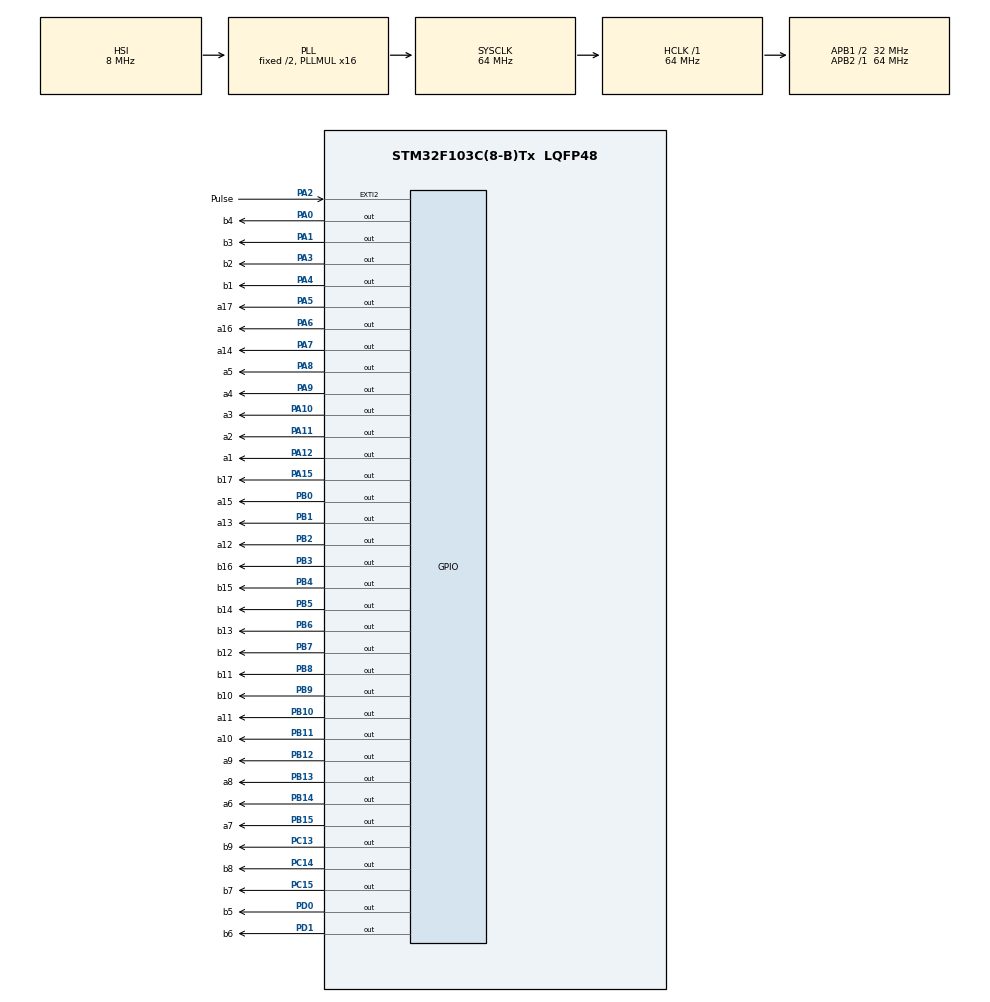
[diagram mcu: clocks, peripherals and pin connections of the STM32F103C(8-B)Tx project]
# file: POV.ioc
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Mcu.Family=STM32F1
Mcu.Name=STM32F103C(8-B)Tx
Mcu.Package=LQFP48
NVIC.EXTI2_IRQn=true\:1\:0\:true
NVIC.PriorityGroup=NVIC_PRIORITYGROUP_4
NVIC.TIM3_IRQn=true\:2\:0\:true
PA0-WKUP.GPIO_Label=b4
PA0-WKUP.GPIO_ModeDefaultOutputPP=GPIO_MODE_OUTPUT_PP
PA0-WKUP.GPIO_Speed=GPIO_SPEED_HIGH
PA0-WKUP.Signal=GPIO_Output
PA1.GPIO_Label=b3
PA1.GPIO_ModeDefaultOutputPP=GPIO_MODE_OUTPUT_PP
PA1.GPIO_Speed=GPIO_SPEED_HIGH
PA1.Signal=GPIO_Output
PA10.GPIO_Label=a3
PA10.GPIO_ModeDefaultOutputPP=GPIO_MODE_OUTPUT_PP
PA10.GPIO_Speed=GPIO_SPEED_HIGH
PA10.Signal=GPIO_Output
PA11.GPIO_Label=a2
PA11.GPIO_ModeDefaultOutputPP=GPIO_MODE_OUTPUT_PP
PA11.GPIO_Speed=GPIO_SPEED_HIGH
PA11.Signal=GPIO_Output
PA12.GPIO_Label=a1
PA12.GPIO_ModeDefaultOutputPP=GPIO_MODE_OUTPUT_PP
PA12.GPIO_Speed=GPIO_SPEED_HIGH
PA12.Signal=GPIO_Output
PA13.Mode=Serial_Wire
PA13.Signal=SYS_JTMS-SWDIO
PA14.Mode=Serial_Wire
PA14.Signal=SYS_JTCK-SWCLK
PA15.GPIO_Label=b17
PA15.GPIO_ModeDefaultOutputPP=GPIO_MODE_OUTPUT_PP
PA15.GPIO_Speed=GPIO_SPEED_HIGH
PA15.Signal=GPIO_Output
PA2.GPIO_Label=Pulse
PA2.GPIO_ModeDefaultEXTI=GPIO_MODE_IT_FALLING
PA2.GPIO_PuPd=GPIO_PULLUP
PA2.Signal=GPXTI2
PA3.GPIO_Label=b2
PA3.GPIO_ModeDefaultOutputPP=GPIO_MODE_OUTPUT_PP
PA3.GPIO_Speed=GPIO_SPEED_HIGH
PA3.Signal=GPIO_Output
PA4.GPIO_Label=b1
PA4.GPIO_ModeDefaultOutputPP=GPIO_MODE_OUTPUT_PP
PA4.GPIO_Speed=GPIO_SPEED_HIGH
PA4.Signal=GPIO_Output
PA5.GPIO_Label=a17
PA5.GPIO_ModeDefaultOutputPP=GPIO_MODE_OUTPUT_PP
PA5.GPIO_Speed=GPIO_SPEED_HIGH
PA5.Signal=GPIO_Output
PA6.GPIO_Label=a16
PA6.GPIO_ModeDefaultOutputPP=GPIO_MODE_OUTPUT_PP
PA6.GPIO_Speed=GPIO_SPEED_HIGH
PA6.Signal=GPIO_Output
PA7.GPIO_Label=a14
PA7.GPIO_ModeDefaultOutputPP=GPIO_MODE_OUTPUT_PP
PA7.GPIO_Speed=GPIO_SPEED_HIGH
PA7.Signal=GPIO_Output
PA8.GPIO_Label=a5
PA8.GPIO_ModeDefaultOutputPP=GPIO_MODE_OUTPUT_PP
PA8.GPIO_Speed=GPIO_SPEED_HIGH
PA8.Signal=GPIO_Output
PA9.GPIO_Label=a4
PA9.GPIO_ModeDefaultOutputPP=GPIO_MODE_OUTPUT_PP
PA9.GPIO_Speed=GPIO_SPEED_HIGH
PA9.Signal=GPIO_Output
PB0.GPIO_Label=a15
PB0.GPIO_ModeDefaultOutputPP=GPIO_MODE_OUTPUT_PP
PB0.GPIO_Speed=GPIO_SPEED_HIGH
PB0.Signal=GPIO_Output
PB1.GPIO_Label=a13
PB1.GPIO_ModeDefaultOutputPP=GPIO_MODE_OUTPUT_PP
PB1.GPIO_Speed=GPIO_SPEED_HIGH
PB1.Signal=GPIO_Output
PB10.GPIO_Label=a11
PB10.GPIO_ModeDefaultOutputPP=GPIO_MODE_OUTPUT_PP
PB10.GPIO_Speed=GPIO_SPEED_HIGH
PB10.Signal=GPIO_Output
PB11.GPIO_Label=a10
PB11.GPIO_ModeDefaultOutputPP=GPIO_MODE_OUTPUT_PP
PB11.GPIO_Speed=GPIO_SPEED_HIGH
PB11.Signal=GPIO_Output
PB12.GPIO_Label=a9
PB12.GPIO_ModeDefaultOutputPP=GPIO_MODE_OUTPUT_PP
PB12.GPIO_Speed=GPIO_SPEED_HIGH
PB12.Signal=GPIO_Output
PB13.GPIO_Label=a8
PB13.GPIO_ModeDefaultOutputPP=GPIO_MODE_OUTPUT_PP
PB13.GPIO_Speed=GPIO_SPEED_HIGH
PB13.Signal=GPIO_Output
PB14.GPIO_Label=a6
PB14.GPIO_ModeDefaultOutputPP=GPIO_MODE_OUTPUT_PP
PB14.GPIO_Speed=GPIO_SPEED_HIGH
PB14.Signal=GPIO_Output
PB15.GPIO_Label=a7
PB15.GPIO_ModeDefaultOutputPP=GPIO_MODE_OUTPUT_PP
PB15.GPIO_Speed=GPIO_SPEED_HIGH
PB15.Signal=GPIO_Output
PB2.GPIO_Label=a12
PB2.GPIO_ModeDefaultOutputPP=GPIO_MODE_OUTPUT_PP
PB2.GPIO_Speed=GPIO_SPEED_HIGH
PB2.Signal=GPIO_Output
PB3.GPIO_Label=b16
PB3.GPIO_ModeDefaultOutputPP=GPIO_MODE_OUTPUT_PP
PB3.GPIO_Speed=GPIO_SPEED_HIGH
PB3.Signal=GPIO_Output
PB4.GPIO_Label=b15
PB4.GPIO_ModeDefaultOutputPP=GPIO_MODE_OUTPUT_PP
PB4.GPIO_Speed=GPIO_SPEED_HIGH
PB4.Signal=GPIO_Output
PB5.GPIO_Label=b14
PB5.GPIO_ModeDefaultOutputPP=GPIO_MODE_OUTPUT_PP
PB5.GPIO_Speed=GPIO_SPEED_HIGH
PB5.Signal=GPIO_Output
PB6.GPIO_Label=b13
PB6.GPIO_ModeDefaultOutputPP=GPIO_MODE_OUTPUT_PP
PB6.GPIO_Speed=GPIO_SPEED_HIGH
PB6.Signal=GPIO_Output
PB7.GPIO_Label=b12
PB7.GPIO_ModeDefaultOutputPP=GPIO_MODE_OUTPUT_PP
PB7.GPIO_Speed=GPIO_SPEED_HIGH
PB7.Signal=GPIO_Output
PB8.GPIO_Label=b11
PB8.GPIO_ModeDefaultOutputPP=GPIO_MODE_OUTPUT_PP
PB8.GPIO_Speed=GPIO_SPEED_HIGH
PB8.Signal=GPIO_Output
PB9.GPIO_Label=b10
PB9.GPIO_ModeDefaultOutputPP=GPIO_MODE_OUTPUT_PP
PB9.GPIO_Speed=GPIO_SPEED_HIGH
PB9.Signal=GPIO_Output
PC13-TAMPER-RTC.GPIO_Label=b9
PC13-TAMPER-RTC.GPIO_ModeDefaultOutputPP=GPIO_MODE_OUTPUT_PP
PC13-TAMPER-RTC.GPIO_Speed=GPIO_SPEED_HIGH
PC13-TAMPER-RTC.Signal=GPIO_Output
PC14-OSC32_IN.GPIO_Label=b8
PC14-OSC32_IN.GPIO_ModeDefaultOutputPP=GPIO_MODE_OUTPUT_PP
PC14-OSC32_IN.GPIO_Speed=GPIO_SPEED_HIGH
PC14-OSC32_IN.Signal=GPIO_Output
PC15-OSC32_OUT.GPIO_Label=b7
PC15-OSC32_OUT.GPIO_ModeDefaultOutputPP=GPIO_MODE_OUTPUT_PP
PC15-OSC32_OUT.GPIO_Speed=GPIO_SPEED_HIGH
PC15-OSC32_OUT.Signal=GPIO_Output
PD0-OSC_IN.GPIO_Label=b5
PD0-OSC_IN.GPIO_ModeDefaultOutputPP=GPIO_MODE_OUTPUT_PP
PD0-OSC_IN.GPIO_Speed=GPIO_SPEED_HIGH
PD0-OSC_IN.Signal=GPIO_Output
PD1-OSC_OUT.GPIO_Label=b6
PD1-OSC_OUT.GPIO_ModeDefaultOutputPP=GPIO_MODE_OUTPUT_PP
PD1-OSC_OUT.GPIO_Speed=GPIO_SPEED_HIGH
PD1-OSC_OUT.Signal=GPIO_Output
ProjectManager.HeapSize=0x400
ProjectManager.StackSize=0x200
ProjectManager.TargetToolchain=MDK-ARM V5
RCC.AHBFreq_Value=64000000
RCC.APB1CLKDivider=RCC_HCLK_DIV2
RCC.APB1Freq_Value=32000000
RCC.APB1TimFreq_Value=64000000
RCC.APB2Freq_Value=64000000
RCC.APB2TimFreq_Value=64000000
RCC.HCLKFreq_Value=64000000
RCC.PLLMUL=RCC_PLL_MUL16
RCC.SYSCLKFreq_VALUE=64000000
RCC.SYSCLKSource=RCC_SYSCLKSOURCE_PLLCLK
RCC.USBFreq_Value=64000000
TIM4.Prescaler=99
VP_TIM3_VS_ClockSourceINT.Mode=Internal
VP_TIM4_VS_ClockSourceINT.Mode=Internal
board=POV

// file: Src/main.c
/**
  ******************************************************************************
  * File Name          : main.c
  * Description        : Main program body
  ******************************************************************************
  *
  * COPYRIGHT(c) 2016 STMicroelectronics
  *
  * Redistribution and use in source and binary forms, with or without modification,
  * are permitted provided that the following conditions are met:
  *   1. Redistributions of source code must retain the above copyright notice,
  *      this list of conditions and the following disclaimer.
  *   2. Redistributions in binary form must reproduce the above copyright notice,
  *      this list of conditions and the following disclaimer in the documentation
  *      and/or other materials provided with the distribution.
  *   3. Neither the name of STMicroelectronics nor the names of its contributors
  *      may be used to endorse or promote products derived from this software
  *      without specific prior written permission.
  *
  * THIS SOFTWARE IS PROVIDED BY THE COPYRIGHT HOLDERS AND CONTRIBUTORS "AS IS"
  * AND ANY EXPRESS OR IMPLIED WARRANTIES, INCLUDING, BUT NOT LIMITED TO, THE
  * IMPLIED WARRANTIES OF MERCHANTABILITY AND FITNESS FOR A PARTICULAR PURPOSE ARE
  * DISCLAIMED. IN NO EVENT SHALL THE COPYRIGHT HOLDER OR CONTRIBUTORS BE LIABLE
  * FOR ANY DIRECT, INDIRECT, INCIDENTAL, SPECIAL, EXEMPLARY, OR CONSEQUENTIAL
  * DAMAGES (INCLUDING, BUT NOT LIMITED TO, PROCUREMENT OF SUBSTITUTE GOODS OR
  * SERVICES; LOSS OF USE, DATA, OR PROFITS; OR BUSINESS INTERRUPTION) HOWEVER
  * CAUSED AND ON ANY THEORY OF LIABILITY, WHETHER IN CONTRACT, STRICT LIABILITY,
  * OR TORT (INCLUDING NEGLIGENCE OR OTHERWISE) ARISING IN ANY WAY OUT OF THE USE
  * OF THIS SOFTWARE, EVEN IF ADVISED OF THE POSSIBILITY OF SUCH DAMAGE.
  *
  ******************************************************************************
  */
#include "stm32f1xx_hal.h"

/* USER CODE BEGIN Includes */
#include "math.h"
#include <stdlib.h>
#include "text.h"
#include "heart.h"
#include "run.h"
//plot size 48*48 pixel

#define run_delay 100
#define heart_delay 300
#define text_delay 250
/* USER CODE END Includes */

TIM_HandleTypeDef htim3;
TIM_HandleTypeDef htim4;

/* USER CODE BEGIN PV */
/* Private variables ---------------------------------------------------------*/
static uint32_t Led_a[] = {a1_Pin,a2_Pin,a3_Pin,a4_Pin,a5_Pin,a6_Pin,a7_Pin,a8_Pin,a9_Pin,a10_Pin,a11_Pin,a12_Pin,a13_Pin,a14_Pin,a15_Pin,a16_Pin,a17_Pin};
static uint32_t Led_b[] = {b1_Pin,b2_Pin,b3_Pin,b4_Pin,b5_Pin,b6_Pin,b7_Pin,b8_Pin,b9_Pin,b10_Pin,b11_Pin,b12_Pin,b13_Pin,b14_Pin,b15_Pin,b16_Pin,b17_Pin};
static GPIO_TypeDef * Led_a_port[] = {a1_GPIO_Port,a2_GPIO_Port,a3_GPIO_Port,a4_GPIO_Port,a5_GPIO_Port,a6_GPIO_Port,a7_GPIO_Port,a8_GPIO_Port,a9_GPIO_Port,a10_GPIO_Port,a11_GPIO_Port,a12_GPIO_Port,a13_GPIO_Port,a14_GPIO_Port,a15_GPIO_Port,a16_GPIO_Port,a17_GPIO_Port};
static GPIO_TypeDef * Led_b_port[] = {b1_GPIO_Port,b2_GPIO_Port,b3_GPIO_Port,b4_GPIO_Port,b5_GPIO_Port,b6_GPIO_Port,b7_GPIO_Port,b8_GPIO_Port,b9_GPIO_Port,b10_GPIO_Port,b11_GPIO_Port,b12_GPIO_Port,b13_GPIO_Port,b14_GPIO_Port,b15_GPIO_Port,b16_GPIO_Port,b17_GPIO_Port};

uint16_t frame = 0;
uint16_t angle = 0;
uint16_t period_rpm = 0;
uint16_t period_step = 0;

uint8_t * picture;

static int16_t cosin_table[200][17] = {0};

float debug = 0;
float debug1 = 1;
const float xx [] = {
	0,-0.0314,-0.0628,-0.0941,-0.1253,-0.1564,
 -0.1874,-0.2181,-0.2487,-0.2790,-0.3090,-0.3387,
 -0.3681,-0.3971,-0.4258,-0.4540,-0.4818,-0.5090,
 -0.5358,-0.5621,-0.5878,-0.6129,-0.6374,-0.6613,
 -0.6845,-0.7071,-0.7290,-0.7501,-0.7705,-0.7902,
 -0.8090,-0.8271,-0.8443,-0.8607,-0.8763,-0.8910,
 -0.9048,-0.9178,-0.9298,-0.9409,-0.9511,-0.9603,
 -0.9686,-0.9759,-0.9823,-0.9877,-0.9921,-0.9956,
 -0.9980,-0.9995,-1.0000,-0.9995,-0.9980,-0.9956,
 -0.9921,-0.9877,-0.9823,-0.9759,-0.9686,-0.9603,
 -0.9511,-0.9409,-0.9298,-0.9178,-0.9048,-0.8910,
 -0.8763,-0.8607,-0.8443,-0.8271,-0.8090,-0.7902,
 -0.7705,-0.7501,-0.7290,-0.7071,-0.6845,-0.6613,
 -0.6374,-0.6129,-0.5878,-0.5621,-0.5358,-0.5090,
 -0.4818,-0.4540,-0.4258,-0.3971,-0.3681,-0.3387,
 -0.3090,-0.2790,-0.2487,-0.2181,-0.1874,-0.1564,
 -0.1253,-0.0941,-0.0628,-0.0314, 0,      0.0314,
  0.0628, 0.0941, 0.1253, 0.1564, 0.1874, 0.2181,
  0.2487, 0.2790, 0.3090, 0.3387, 0.3681, 0.3971,
  0.4258, 0.4540, 0.4818, 0.5090, 0.5358, 0.5621,
  0.5878, 0.6129, 0.6374, 0.6613, 0.6845, 0.7071,
  0.7290, 0.7501, 0.7705, 0.7902, 0.8090, 0.8271,
  0.8443, 0.8607, 0.8763, 0.8910, 0.9048, 0.9178,
  0.9298, 0.9409, 0.9511, 0.9603, 0.9686, 0.9759,
  0.9823, 0.9877, 0.9921, 0.9956, 0.9980, 0.9995,
  1.0000, 0.9995, 0.9980, 0.9956, 0.9921, 0.9877,
  0.9823, 0.9759, 0.9686, 0.9603, 0.9511, 0.9409,
  0.9298, 0.9178, 0.9048, 0.8910, 0.8763, 0.8607,
  0.8443, 0.8271, 0.8090, 0.7902, 0.7705, 0.7501,
  0.7290, 0.7071, 0.6845, 0.6613, 0.6374, 0.6129,
  0.5878, 0.5621, 0.5358, 0.5090, 0.4818, 0.4540,
  0.4258, 0.3971, 0.3681, 0.3387, 0.3090, 0.2790,
  0.2487, 0.2181, 0.1874, 0.1564, 0.1253, 0.0941,
  0.0628, 0.0314,
};

const float yy [] = {
-1.0000,-0.9995,-0.9980,-0.9956,-0.9921,-0.9877,
-0.9823,-0.9759,-0.9686,-0.9603,-0.9511,-0.9409,
-0.9298,-0.9178,-0.9048,-0.8910,-0.8763,-0.8607,
-0.8443,-0.8271,-0.8090,-0.7902,-0.7705,-0.7501,
-0.7290,-0.7071,-0.6845,-0.6613,-0.6374,-0.6129,
-0.5878,-0.5621,-0.5358,-0.5090,-0.4818,-0.4540,
-0.4258,-0.3971,-0.3681,-0.3387,-0.3090,-0.2790,
-0.2487,-0.2181,-0.1874,-0.1564,-0.1253,-0.0941,
-0.0628,-0.0314,      0, 0.0314, 0.0628, 0.0941,
 0.1253, 0.1564, 0.1874, 0.2181, 0.2487, 0.2790,
 0.3090, 0.3387, 0.3681, 0.3971, 0.4258, 0.4540,
 0.4818, 0.5090, 0.5358, 0.5621, 0.5878, 0.6129,
 0.6374, 0.6613, 0.6845, 0.7071, 0.7290, 0.7501,
 0.7705, 0.7902, 0.8090, 0.8271, 0.8443, 0.8607,
 0.8763, 0.8910, 0.9048, 0.9178, 0.9298, 0.9409,
 0.9511, 0.9603, 0.9686, 0.9759, 0.9823, 0.9877,
 0.9921, 0.9956, 0.9980, 0.9995, 1.0000, 0.9995,
 0.9980, 0.9956, 0.9921, 0.9877, 0.9823, 0.9759,
 0.9686, 0.9603, 0.9511, 0.9409, 0.9298, 0.9178,
 0.9048, 0.8910, 0.8763, 0.8607, 0.8443, 0.8271,
 0.8090, 0.7902, 0.7705, 0.7501, 0.7290, 0.7071,
 0.6845, 0.6613, 0.6374, 0.6129, 0.5878, 0.5621,
 0.5358, 0.5090, 0.4818, 0.4540, 0.4258, 0.3971,
 0.3681, 0.3387, 0.3090, 0.2790, 0.2487, 0.2181,
 0.1874, 0.1564, 0.1253, 0.0941, 0.0628, 0.0314,
      0,-0.0314,-0.0628,-0.0941,-0.1253,-0.1564,
-0.1874,-0.2181,-0.2487,-0.2790,-0.3090,-0.3387,
-0.3681,-0.3971,-0.4258,-0.4540,-0.4818,-0.5090,
-0.5358,-0.5621,-0.5878,-0.6129,-0.6374,-0.6613,
-0.6845,-0.7071,-0.7290,-0.7501,-0.7705,-0.7902,
-0.8090,-0.8271,-0.8443,-0.8607,-0.8763,-0.8910,
-0.9048,-0.9178,-0.9298,-0.9409,-0.9511,-0.9603,
-0.9686,-0.9759,-0.9823,-0.9877,-0.9921,-0.9956,
-0.9980,-0.9995,
};
static const  uint8_t pic [] =  {
0x00, 0x00, 0x00, 0x00, 0x00, 0x00, 0x00, 0x00, 0x7F, 0xFE, 0x00, 0x00, 0x00, 0x01, 0xFF, 0xFF,
0xC0, 0x00, 0x00, 0x07, 0xFF, 0xFF, 0xF0, 0x00, 0x00, 0x1F, 0xFF, 0xFF, 0xF8, 0x00, 0x00, 0x3F,
0x8F, 0xE1, 0xFE, 0x00, 0x00, 0x7E, 0x0F, 0xE0, 0x7F, 0x00, 0x00, 0xF8, 0x0F, 0xE0, 0x3F, 0x80,
0x01, 0xF0, 0x0F, 0xE0, 0x0F, 0xC0, 0x03, 0xE0, 0x0F, 0xE0, 0x07, 0xE0, 0x07, 0xC0, 0x0F, 0xE0,
0x03, 0xE0, 0x07, 0x80, 0x0F, 0xE0, 0x01, 0xF0, 0x0F, 0x80, 0x0F, 0xE0, 0x01, 0xF8, 0x1F, 0x00,
0x0F, 0xE0, 0x00, 0xF8, 0x1E, 0x00, 0x0F, 0xE0, 0x00, 0x7C, 0x3E, 0x00, 0x0F, 0xE0, 0x00, 0x7C,
0x3C, 0x00, 0x0F, 0xE0, 0x00, 0x3E, 0x3C, 0x00, 0x0F, 0xE0, 0x00, 0x3E, 0x7C, 0x00, 0x0F, 0xE0,
0x00, 0x3E, 0x7C, 0x00, 0x0F, 0xE0, 0x00, 0x3E, 0x78, 0x00, 0x0F, 0xE0, 0x00, 0x1E, 0x78, 0x00,
0x0F, 0xE0, 0x00, 0x1F, 0x78, 0x80, 0x0F, 0xE0, 0x00, 0x1F, 0x78, 0xC0, 0x0F, 0xE0, 0x03, 0x1F,
0x78, 0x70, 0x0F, 0xE0, 0x06, 0x1F, 0x78, 0x78, 0x0F, 0xE0, 0x1E, 0x1F, 0x78, 0x7E, 0x0F, 0xE0,
0x3C, 0x1F, 0x78, 0x3F, 0x0F, 0xE0, 0xFC, 0x1F, 0x7C, 0x3F, 0xCF, 0xE1, 0xFC, 0x3E, 0x7C, 0x1F,
0xCF, 0xE7, 0xF8, 0x3E, 0x3C, 0x0F, 0x8F, 0xE7, 0xF0, 0x3E, 0x3C, 0x00, 0x0F, 0xE0, 0xE0, 0x7E,
0x3E, 0x00, 0x0F, 0xE0, 0x00, 0x7C, 0x1E, 0x00, 0x0F, 0xE0, 0x00, 0x7C, 0x1F, 0x00, 0x0F, 0xE0,
0x00, 0xF8, 0x0F, 0x80, 0x0F, 0xE0, 0x01, 0xF8, 0x0F, 0x80, 0x0F, 0xE0, 0x01, 0xF0, 0x07, 0xC0,
0x0F, 0xE0, 0x03, 0xE0, 0x03, 0xE0, 0x0F, 0xE0, 0x07, 0xE0, 0x01, 0xF0, 0x0F, 0xE0, 0x0F, 0xC0,
0x00, 0xFC, 0x0F, 0xE0, 0x3F, 0x80, 0x00, 0x7E, 0x0F, 0xE0, 0x7F, 0x00, 0x00, 0x3F, 0x8F, 0xE1,
0xFE, 0x00, 0x00, 0x1F, 0xFF, 0xFF, 0xF8, 0x00, 0x00, 0x07, 0xFF, 0xFF, 0xF0, 0x00, 0x00, 0x01,
0xFF, 0xFF, 0xC0, 0x00, 0x00, 0x00, 0x7F, 0xFE, 0x00, 0x00, 0x00, 0x00, 0x03, 0xC0, 0x00, 0x00
};

static const  uint8_t test [] = {
0xFF, 0xFF, 0xFF, 0x80, 0x00, 0x00, 0xFF, 0xFF, 0xFF, 0x80, 0x00, 0x00, 0xFF, 0xFF, 0xFF, 0x00,
0x00, 0x00, 0xFF, 0xFF, 0xFF, 0x80, 0x00, 0x00, 0xFF, 0xFF, 0xFF, 0x80, 0x00, 0x00, 0xFF, 0xFF,
0xFF, 0x00, 0x00, 0x00, 0xFF, 0xFF, 0xFF, 0x80, 0x00, 0x00, 0xFF, 0xFF, 0xFF, 0x80, 0x00, 0x00,
0xFF, 0xFF, 0xFF, 0x00, 0x00, 0x00, 0xFF, 0xFF, 0xFF, 0x80, 0x00, 0x00, 0xFF, 0xFF, 0xFF, 0x80,
0x00, 0x00, 0xFF, 0xFF, 0xFF, 0x00, 0x00, 0x00, 0xFF, 0xFF, 0xFF, 0x80, 0x00, 0x00, 0xFF, 0xFF,
0xFF, 0x80, 0x00, 0x00, 0xFF, 0xFF, 0xFF, 0x00, 0x00, 0x00, 0xFF, 0xFF, 0xFF, 0x80, 0x00, 0x00,
0xFF, 0xFF, 0xFF, 0x00, 0x00, 0x00, 0xFF, 0xFF, 0xFF, 0x80, 0x00, 0x00, 0xFF, 0xFF, 0xFF, 0x80,
0x00, 0x00, 0xFF, 0xFF, 0xFF, 0x00, 0x00, 0x00, 0xFF, 0xFF, 0xFF, 0x80, 0x00, 0x00, 0xFF, 0xFF,
0xFF, 0x00, 0x00, 0x00, 0xFF, 0xFF, 0xFF, 0x80, 0x00, 0x00, 0xFF, 0xFF, 0xFF, 0x00, 0x00, 0x00,
0xB6, 0xDB, 0x6D, 0xD5, 0xAD, 0x6B, 0x00, 0x00, 0x00, 0x7F, 0xFF, 0xFF, 0x00, 0x00, 0x00, 0xFF,
0xFF, 0xFF, 0x00, 0x00, 0x00, 0xFF, 0xFF, 0xFF, 0x00, 0x00, 0x00, 0x7F, 0xFF, 0xFF, 0x00, 0x00,
0x00, 0xFF, 0xFF, 0xFF, 0x00, 0x00, 0x00, 0xFF, 0xFF, 0xFF, 0x00, 0x00, 0x00, 0x7F, 0xFF, 0xFF,
0x00, 0x00, 0x00, 0xFF, 0xFF, 0xFF, 0x00, 0x00, 0x00, 0xFF, 0xFF, 0xFF, 0x00, 0x00, 0x00, 0x7F,
0xFF, 0xFF, 0x00, 0x00, 0x00, 0xFF, 0xFF, 0xFF, 0x00, 0x00, 0x00, 0xFF, 0xFF, 0xFF, 0x00, 0x00,
0x00, 0x7F, 0xFF, 0xFF, 0x00, 0x00, 0x00, 0xFF, 0xFF, 0xFF, 0x00, 0x00, 0x00, 0xFF, 0xFF, 0xFF,
0x00, 0x00, 0x00, 0x7F, 0xFF, 0xFF, 0x00, 0x00, 0x00, 0xFF, 0xFF, 0xFF, 0x00, 0x00, 0x00, 0xFF,
0xFF, 0xFF, 0x00, 0x00, 0x00, 0x7F, 0xFF, 0xFF, 0x00, 0x00, 0x00, 0xFF, 0xFF, 0xFF, 0x00, 0x00,
0x00, 0xFF, 0xFF, 0xFF, 0x00, 0x00, 0x00, 0x7F, 0xFF, 0xFF, 0x00, 0x00, 0x00, 0xFF, 0xFF, 0xFF
};

//const  uint8_t test [] = {
//0xaa, 0xaa, 0xaa, 0xaa, 0xaa, 0xaa, 0xaa, 0xaa,
//};

	/* USER CODE END PV */

void SystemClock_Config(void);
static void MX_GPIO_Init(void);
static void MX_TIM3_Init(void);
static void MX_TIM4_Init(void);

int aa = 1.9;

/* USER CODE BEGIN PFP */
/* Private function prototypes -----------------------------------------------*/
void led_a_write(uint32_t tmp);
void led_b_write(uint32_t tmp);
void start_point(void);
void angle_point(void);
void angle_plot(void);
void build_table(void){
	for (int x = 0; x<200 ; x++)// angle
	{

		//float xx = -sin((float)x*0.0314159f);
		//float yy = -cos((float)x*0.0314159f);

 		for (int y = 0; y < 17; y++) // number
 		{

//			int cal_y = (float)(20.0f + (float)(4.0f+(float)y)*yy[x])*0.9302f;
//			int cal_x = (float)(20.0f + (float)(4.0f+(float)y)*xx[x])*0.9302f;

//			int cal_y = (float)(21.5f + (float)(5.5f+(float)y)*yy[x])*0.9302f;
//			int cal_x = (float)(21.5f + (float)(5.5f+(float)y)*xx[x])*0.9302f;

			int cal_y = (float)(24.0f + (float)(6.0f+(float)y)*yy[x]);
			int cal_x = (float)(24.0f + (float)(6.0f+(float)y)*xx[x]);

			cosin_table[x][y] = cal_y*48 + cal_x;

     }
	}
}
/* USER CODE END PFP */

int main(void)
{

  /* USER CODE BEGIN 1 */
	build_table();
  /* USER CODE END 1 */

  /* MCU Configuration----------------------------------------------------------*/

  /* Reset of all peripherals, Initializes the Flash interface and the Systick. */
  HAL_Init();

  /* Configure the system clock */
  SystemClock_Config();

  /* Initialize all configured peripherals */
  MX_GPIO_Init();
  MX_TIM3_Init();
  MX_TIM4_Init();

  /* USER CODE BEGIN 2 */
	HAL_TIM_Base_Start(&htim4);
	HAL_TIM_Base_Start_IT(&htim3);
  /* USER CODE END 2 */

  /* Infinite loop */
  /* USER CODE BEGIN WHILE */
		led_a_write(0xffffffff);
		led_b_write(0xffffffff);
		HAL_Delay(100);
		led_a_write(0);
		led_b_write(0);

		picture = (uint8_t * )pic;
  while (1)
  {
  /* USER CODE END WHILE */

  /* USER CODE BEGIN 3 */
//		led_a_write(0);
//		led_b_write(0);
//		//HAL_Delay(100);
//		if(GPIO_PIN_SET == HAL_GPIO_ReadPin(Pulse_GPIO_Port,Pulse_Pin))
//		{
//		led_a_write(0xffffffff);
//		led_b_write(0xffffffff);
//		}

//		angle_plot();
//		HAL_Delay(10);

//		if(angle>=200)angle=0;
		//HAL_Delay(100);

//		picture = (uint8_t * )text_001;
//		HAL_Delay(text_delay);
//		picture = (uint8_t * )text_002;
//		HAL_Delay(text_delay);
//		picture = (uint8_t * )text_003;
//		HAL_Delay(text_delay);
//		picture = (uint8_t * )text_004;
//		HAL_Delay(text_delay);
//		picture = (uint8_t * )text_005;
//		HAL_Delay(text_delay);
//		picture = (uint8_t * )text_006;
//		HAL_Delay(text_delay);
//		picture = (uint8_t * )text_007;
//		HAL_Delay(text_delay);
//		picture = (uint8_t * )text_008;
//		HAL_Delay(text_delay);
//		picture = (uint8_t * )text_009;
//		HAL_Delay(text_delay);
//		picture = (uint8_t * )text_010;
//
//		HAL_Delay(text_delay);
//		picture = (uint8_t * )text_011;
//		HAL_Delay(text_delay);
//		picture = (uint8_t * )text_012;
//		HAL_Delay(text_delay);
//		picture = (uint8_t * )text_013;
//		HAL_Delay(text_delay);
//		picture = (uint8_t * )text_014;
//		HAL_Delay(text_delay);
//		picture = (uint8_t * )text_015;
//		HAL_Delay(text_delay);
//		picture = (uint8_t * )text_016;
//		HAL_Delay(text_delay);
//		picture = (uint8_t * )text_017;
//		HAL_Delay(text_delay);
//		picture = (uint8_t * )text_018;
//		HAL_Delay(text_delay);
//		picture = (uint8_t * )text_019;
//		HAL_Delay(text_delay);
//		picture = (uint8_t * )text_020;
//
//		HAL_Delay(text_delay);
//		picture = (uint8_t * )text_021;
//		HAL_Delay(text_delay);
//		picture = (uint8_t * )text_022;
//		HAL_Delay(text_delay);
//		picture = (uint8_t * )text_023;
//		HAL_Delay(text_delay);
//		picture = (uint8_t * )text_024;
//		HAL_Delay(text_delay);
//		picture = (uint8_t * )text_025;
//		HAL_Delay(text_delay);
//		picture = (uint8_t * )text_026;
//		HAL_Delay(text_delay);
//		picture = (uint8_t * )text_027;
//		HAL_Delay(text_delay);
//		picture = (uint8_t * )text_028;
//		HAL_Delay(text_delay);
//		picture = (uint8_t * )text_029;
//		HAL_Delay(text_delay);
//		picture = (uint8_t * )text_030;
//
//		HAL_Delay(text_delay);
//		picture = (uint8_t * )text_031;
//		HAL_Delay(text_delay);
//		picture = (uint8_t * )text_032;
//		HAL_Delay(text_delay);
//		picture = (uint8_t * )text_033;
//		HAL_Delay(text_delay);
//		picture = (uint8_t * )text_034;
//		HAL_Delay(text_delay);
//		picture = (uint8_t * )text_035;
//		HAL_Delay(text_delay);
//		picture = (uint8_t * )text_036;
//		HAL_Delay(text_delay);
//		picture = (uint8_t * )text_037;
//		HAL_Delay(text_delay);
//		picture = (uint8_t * )text_038;
//		HAL_Delay(text_delay);
//		picture = (uint8_t * )text_039;
//		HAL_Delay(text_delay);
//		picture = (uint8_t * )text_040;
//
//		HAL_Delay(text_delay);
//		picture = (uint8_t * )text_041;
//		HAL_Delay(text_delay);
//		picture = (uint8_t * )text_042;
//		HAL_Delay(text_delay);
//		picture = (uint8_t * )text_043;
//		HAL_Delay(text_delay);
//		picture = (uint8_t * )text_044;
//		HAL_Delay(text_delay);
//		picture = (uint8_t * )text_045;
//		HAL_Delay(text_delay);
//		picture = (uint8_t * )text_046;
//		HAL_Delay(text_delay);
//		picture = (uint8_t * )text_047;
//		HAL_Delay(text_delay);
//		picture = (uint8_t * )text_048;
//		HAL_Delay(text_delay);
//		picture = (uint8_t * )text_049;
//		HAL_Delay(text_delay);
//		picture = (uint8_t * )text_050;
//
//		HAL_Delay(text_delay);
//		picture = (uint8_t * )text_051;
//		HAL_Delay(text_delay);
//		picture = (uint8_t * )text_052;
//		HAL_Delay(text_delay);
//		picture = (uint8_t * )text_053;
//		HAL_Delay(text_delay);
//		picture = (uint8_t * )text_054;
//		HAL_Delay(text_delay);
//		picture = (uint8_t * )text_055;
//		HAL_Delay(text_delay);
//		picture = (uint8_t * )text_056;
//		HAL_Delay(text_delay);
//		picture = (uint8_t * )text_057;
//		HAL_Delay(text_delay);
//		picture = (uint8_t * )text_058;
//		HAL_Delay(text_delay);
//		picture = (uint8_t * )text_059;
//		HAL_Delay(text_delay);
//		picture = (uint8_t * )text_060;
//
//		HAL_Delay(text_delay);
//		picture = (uint8_t * )text_061;
//		HAL_Delay(text_delay);
//		picture = (uint8_t * )text_062;
//		HAL_Delay(text_delay);
//		picture = (uint8_t * )text_063;
//		HAL_Delay(text_delay);
//		picture = (uint8_t * )text_064;
//		HAL_Delay(text_delay);
//		picture = (uint8_t * )text_065;
//		HAL_Delay(text_delay);
//		picture = (uint8_t * )text_066;
//		HAL_Delay(text_delay);
//		picture = (uint8_t * )text_067;
//		HAL_Delay(text_delay);
//		picture = (uint8_t * )text_068;
//		HAL_Delay(text_delay);
//		picture = (uint8_t * )text_069;
//		HAL_Delay(text_delay);
//		picture = (uint8_t * )text_070;
//
//		HAL_Delay(text_delay);
//		picture = (uint8_t * )text_071;
//		HAL_Delay(text_delay);
//		picture = (uint8_t * )text_072;
//		HAL_Delay(text_delay);
//		picture = (uint8_t * )text_073;
//		HAL_Delay(text_delay);
//		picture = (uint8_t * )text_074;
//		HAL_Delay(text_delay);
//		picture = (uint8_t * )text_075;
//		HAL_Delay(text_delay);
//		picture = (uint8_t * )text_076;
//		HAL_Delay(text_delay);
//		picture = (uint8_t * )text_077;
//		HAL_Delay(text_delay);
//		picture = (uint8_t * )text_078;
//		HAL_Delay(text_delay);
//		picture = (uint8_t * )text_079;
//		HAL_Delay(text_delay);
//		picture = (uint8_t * )text_080;
//
//		HAL_Delay(text_delay);
//		picture = (uint8_t * )text_081;
//		HAL_Delay(text_delay);
//		picture = (uint8_t * )text_082;
//		HAL_Delay(text_delay);
//		picture = (uint8_t * )text_083;
//		HAL_Delay(text_delay);
//		picture = (uint8_t * )text_084;
//		HAL_Delay(text_delay);
//		picture = (uint8_t * )text_085;
//		HAL_Delay(text_delay);
//		picture = (uint8_t * )text_086;
//		HAL_Delay(text_delay);
//		picture = (uint8_t * )text_087;
//		HAL_Delay(text_delay);
//		picture = (uint8_t * )text_088;
//		HAL_Delay(text_delay);
//		picture = (uint8_t * )text_089;
//		HAL_Delay(text_delay);
//		picture = (uint8_t * )text_090;
//
//		HAL_Delay(text_delay);
//		picture = (uint8_t * )text_091;
//		HAL_Delay(text_delay);
//		picture = (uint8_t * )text_092;
//		HAL_Delay(text_delay);
//		picture = (uint8_t * )text_093;
//		HAL_Delay(text_delay);
//		picture = (uint8_t * )text_094;
//		HAL_Delay(text_delay);
//		picture = (uint8_t * )text_095;
//		HAL_Delay(text_delay);
//		picture = (uint8_t * )text_096;
//		HAL_Delay(text_delay);
//		picture = (uint8_t * )text_097;
//		HAL_Delay(text_delay);
//		picture = (uint8_t * )text_098;
//		HAL_Delay(text_delay);
//		picture = (uint8_t * )text_099;
//		HAL_Delay(text_delay);
//		picture = (uint8_t * )text_100;
//
//		HAL_Delay(text_delay);
//		picture = (uint8_t * )text_101;
//		HAL_Delay(text_delay);
//		picture = (uint8_t * )text_102;
//		HAL_Delay(text_delay);
//		picture = (uint8_t * )text_103;
//		HAL_Delay(text_delay);
//		picture = (uint8_t * )text_104;
//		HAL_Delay(text_delay);
//		picture = (uint8_t * )text_105;
//		HAL_Delay(text_delay);
//		picture = (uint8_t * )text_106;
//		HAL_Delay(text_delay);
//		picture = (uint8_t * )text_107;
//		HAL_Delay(text_delay);
//		picture = (uint8_t * )text_108;
//		HAL_Delay(text_delay);
//		picture = (uint8_t * )text_109;
//		HAL_Delay(text_delay);
//		picture = (uint8_t * )text_110;
//
//		HAL_Delay(text_delay);
//		picture = (uint8_t * )text_111;
//		HAL_Delay(text_delay);
//		picture = (uint8_t * )text_112;
//		HAL_Delay(text_delay);
//		picture = (uint8_t * )text_113;
//		HAL_Delay(text_delay);
//		picture = (uint8_t * )text_114;
//		HAL_Delay(text_delay);
//		picture = (uint8_t * )text_115;
//		HAL_Delay(text_delay);
//		picture = (uint8_t * )text_116;
//		HAL_Delay(text_delay);
//		picture = (uint8_t * )text_117;
//		HAL_Delay(text_delay);
//		picture = (uint8_t * )text_118;
//		HAL_Delay(text_delay);
//		picture = (uint8_t * )text_119;
//		HAL_Delay(text_delay);
//		picture = (uint8_t * )text_120;
//
//		HAL_Delay(text_delay);
//		picture = (uint8_t * )text_121;
//		HAL_Delay(text_delay);
//		picture = (uint8_t * )text_122;
//		HAL_Delay(text_delay);
//		picture = (uint8_t * )text_123;
//		HAL_Delay(text_delay);
//		picture = (uint8_t * )text_124;
//		HAL_Delay(text_delay);

		for (int count1 = 0; count1< 10; count1++)
		{
		picture = (uint8_t * )frame_0;
		HAL_Delay(run_delay);
		picture = (uint8_t * )frame_1;
		HAL_Delay(run_delay);
		picture = (uint8_t * )frame_2;
		HAL_Delay(run_delay);
		picture = (uint8_t * )frame_3;
		HAL_Delay(run_delay);
		picture = (uint8_t * )frame_4;
		HAL_Delay(run_delay);
		}

		for (int count1 = 0; count1< 4; count1++)
		{
			picture = (uint8_t * )pic;
			HAL_Delay(heart_delay);
			picture = (uint8_t * )text_124;
			HAL_Delay(heart_delay);
			picture = (uint8_t * )pic;
			HAL_Delay(heart_delay);
			picture = (uint8_t * )text_124;
			HAL_Delay(heart_delay);
		}
			picture = (uint8_t * )pic;
			HAL_Delay(3000);

				for (int count1 = 0; count1< 4; count1++)
		{
			picture = (uint8_t * )heart_01;
			HAL_Delay(heart_delay);
			picture = (uint8_t * )heart_02;
			HAL_Delay(heart_delay);
			picture = (uint8_t * )heart_03;
			HAL_Delay(heart_delay);
		}

  }
  /* USER CODE END 3 */

}

/** System Clock Configuration
*/
void SystemClock_Config(void)
{

  RCC_OscInitTypeDef RCC_OscInitStruct;
  RCC_ClkInitTypeDef RCC_ClkInitStruct;

  RCC_OscInitStruct.OscillatorType = RCC_OSCILLATORTYPE_HSI;
  RCC_OscInitStruct.HSIState = RCC_HSI_ON;
  RCC_OscInitStruct.HSICalibrationValue = 16;
  RCC_OscInitStruct.PLL.PLLState = RCC_PLL_ON;
  RCC_OscInitStruct.PLL.PLLSource = RCC_PLLSOURCE_HSI_DIV2;
  RCC_OscInitStruct.PLL.PLLMUL = RCC_PLL_MUL16;
  HAL_RCC_OscConfig(&RCC_OscInitStruct);

  RCC_ClkInitStruct.ClockType = RCC_CLOCKTYPE_HCLK|RCC_CLOCKTYPE_SYSCLK
                              |RCC_CLOCKTYPE_PCLK1|RCC_CLOCKTYPE_PCLK2;
  RCC_ClkInitStruct.SYSCLKSource = RCC_SYSCLKSOURCE_PLLCLK;
  RCC_ClkInitStruct.AHBCLKDivider = RCC_SYSCLK_DIV1;
  RCC_ClkInitStruct.APB1CLKDivider = RCC_HCLK_DIV2;
  RCC_ClkInitStruct.APB2CLKDivider = RCC_HCLK_DIV1;
  HAL_RCC_ClockConfig(&RCC_ClkInitStruct, FLASH_LATENCY_2);

  HAL_SYSTICK_Config(HAL_RCC_GetHCLKFreq()/1000);

  HAL_SYSTICK_CLKSourceConfig(SYSTICK_CLKSOURCE_HCLK);

  /* SysTick_IRQn interrupt configuration */
  HAL_NVIC_SetPriority(SysTick_IRQn, 0, 0);
}

/* TIM3 init function */
void MX_TIM3_Init(void)
{

  TIM_ClockConfigTypeDef sClockSourceConfig;
  TIM_MasterConfigTypeDef sMasterConfig;

  htim3.Instance = TIM3;
  htim3.Init.Prescaler = 0;
  htim3.Init.CounterMode = TIM_COUNTERMODE_UP;
  htim3.Init.Period = 0;
  htim3.Init.ClockDivision = TIM_CLOCKDIVISION_DIV1;
  HAL_TIM_Base_Init(&htim3);

  sClockSourceConfig.ClockSource = TIM_CLOCKSOURCE_INTERNAL;
  HAL_TIM_ConfigClockSource(&htim3, &sClockSourceConfig);

  sMasterConfig.MasterOutputTrigger = TIM_TRGO_RESET;
  sMasterConfig.MasterSlaveMode = TIM_MASTERSLAVEMODE_DISABLE;
  HAL_TIMEx_MasterConfigSynchronization(&htim3, &sMasterConfig);

}

/* TIM4 init function */
void MX_TIM4_Init(void)
{

  TIM_ClockConfigTypeDef sClockSourceConfig;
  TIM_MasterConfigTypeDef sMasterConfig;

  htim4.Instance = TIM4;
  htim4.Init.Prescaler = 99;
  htim4.Init.CounterMode = TIM_COUNTERMODE_UP;
  htim4.Init.Period = 0xffff;
  htim4.Init.ClockDivision = TIM_CLOCKDIVISION_DIV1;
  HAL_TIM_Base_Init(&htim4);

  sClockSourceConfig.ClockSource = TIM_CLOCKSOURCE_INTERNAL;
  HAL_TIM_ConfigClockSource(&htim4, &sClockSourceConfig);

  sMasterConfig.MasterOutputTrigger = TIM_TRGO_RESET;
  sMasterConfig.MasterSlaveMode = TIM_MASTERSLAVEMODE_DISABLE;
  HAL_TIMEx_MasterConfigSynchronization(&htim4, &sMasterConfig);

}

/** Configure pins as
        * Analog
        * Input
        * Output
        * EVENT_OUT
        * EXTI
*/
void MX_GPIO_Init(void)
{

  GPIO_InitTypeDef GPIO_InitStruct;

  /* GPIO Ports Clock Enable */
  __GPIOC_CLK_ENABLE();
  __GPIOD_CLK_ENABLE();
  __GPIOA_CLK_ENABLE();
  __GPIOB_CLK_ENABLE();

  /*Configure GPIO pin Output Level */
  HAL_GPIO_WritePin(GPIOC, b9_Pin|b8_Pin|b7_Pin, GPIO_PIN_RESET);

  /*Configure GPIO pin Output Level */
  HAL_GPIO_WritePin(GPIOD, b5_Pin|b6_Pin, GPIO_PIN_RESET);

  /*Configure GPIO pin Output Level */
  HAL_GPIO_WritePin(GPIOA, b4_Pin|b3_Pin|b2_Pin|b1_Pin
                          |a17_Pin|a16_Pin|a14_Pin|a5_Pin
                          |a4_Pin|a3_Pin|a2_Pin|a1_Pin
                          |b17_Pin, GPIO_PIN_RESET);

  /*Configure GPIO pin Output Level */
  HAL_GPIO_WritePin(GPIOB, a15_Pin|a13_Pin|a12_Pin|a11_Pin
                          |a10_Pin|a9_Pin|a8_Pin|a6_Pin
                          |a7_Pin|b16_Pin|b15_Pin|b14_Pin
                          |b13_Pin|b12_Pin|b11_Pin|b10_Pin, GPIO_PIN_RESET);

  /*Configure GPIO pins : b9_Pin b8_Pin b7_Pin */
  GPIO_InitStruct.Pin = b9_Pin|b8_Pin|b7_Pin;
  GPIO_InitStruct.Mode = GPIO_MODE_OUTPUT_PP;
  GPIO_InitStruct.Speed = GPIO_SPEED_HIGH;
  HAL_GPIO_Init(GPIOC, &GPIO_InitStruct);

  /*Configure GPIO pins : b5_Pin b6_Pin */
  GPIO_InitStruct.Pin = b5_Pin|b6_Pin;
  GPIO_InitStruct.Mode = GPIO_MODE_OUTPUT_PP;
  GPIO_InitStruct.Speed = GPIO_SPEED_HIGH;
  HAL_GPIO_Init(GPIOD, &GPIO_InitStruct);

  /*Configure GPIO pins : b4_Pin b3_Pin b2_Pin b1_Pin
                           a17_Pin a16_Pin a14_Pin a5_Pin
                           a4_Pin a3_Pin a2_Pin a1_Pin
                           b17_Pin */
  GPIO_InitStruct.Pin = b4_Pin|b3_Pin|b2_Pin|b1_Pin
                          |a17_Pin|a16_Pin|a14_Pin|a5_Pin
                          |a4_Pin|a3_Pin|a2_Pin|a1_Pin
                          |b17_Pin;
  GPIO_InitStruct.Mode = GPIO_MODE_OUTPUT_PP;
  GPIO_InitStruct.Speed = GPIO_SPEED_HIGH;
  HAL_GPIO_Init(GPIOA, &GPIO_InitStruct);

  /*Configure GPIO pin : Pulse_Pin */
  GPIO_InitStruct.Pin = Pulse_Pin;
  GPIO_InitStruct.Mode = GPIO_MODE_IT_FALLING;
  GPIO_InitStruct.Pull = GPIO_PULLUP;
  HAL_GPIO_Init(Pulse_GPIO_Port, &GPIO_InitStruct);

  /*Configure GPIO pins : a15_Pin a13_Pin a12_Pin a11_Pin
                           a10_Pin a9_Pin a8_Pin a6_Pin
                           a7_Pin b16_Pin b15_Pin b14_Pin
                           b13_Pin b12_Pin b11_Pin b10_Pin */
  GPIO_InitStruct.Pin = a15_Pin|a13_Pin|a12_Pin|a11_Pin
                          |a10_Pin|a9_Pin|a8_Pin|a6_Pin
                          |a7_Pin|b16_Pin|b15_Pin|b14_Pin
                          |b13_Pin|b12_Pin|b11_Pin|b10_Pin;
  GPIO_InitStruct.Mode = GPIO_MODE_OUTPUT_PP;
  GPIO_InitStruct.Speed = GPIO_SPEED_HIGH;
  HAL_GPIO_Init(GPIOB, &GPIO_InitStruct);

  /*Configure peripheral I/O remapping */
  __HAL_AFIO_REMAP_PD01_ENABLE();

  /* EXTI interrupt init*/
  HAL_NVIC_SetPriority(EXTI2_IRQn, 1, 0);
  HAL_NVIC_EnableIRQ(EXTI2_IRQn);

}

/* USER CODE BEGIN 4 */
void angle_point(void){
	uint32_t tmp1 = 0;
	uint32_t tmp2 = 0;
	uint32_t mask = 0;

	for(int index = 0; index<17; index++){
//		tmp1 |= mask &&

		mask = mask << 1;
	}
	led_a_write(tmp1);
	led_b_write(tmp2);

	angle ++;
}

void start_point(void){

	period_rpm = TIM4->CNT;
	TIM4->CNT = 0;

	period_step = period_rpm / 2 ;
	TIM3->CNT = 0;
	TIM3->ARR = period_step;
	frame++;
	angle = 0;
}

void angle_plot(void){

//	if(angle == 50 ||angle == 0||angle == 100||angle == 150)
//	{
//				led_a_write(0xffffffff);
//	}else{
//				led_a_write(0);
//	}

	for(int led = 0; led < 17; led++)
	{
		int16_t pointer = cosin_table[angle][led];
		uint8_t mask = 0x80;
		uint8_t OnOff = picture[pointer/8]&(mask >>((pointer%8)));
		HAL_GPIO_WritePin(Led_a_port[16-led], Led_a[16-led], OnOff);

		int16_t angle2 = angle+100;
		if(angle2 >= 200) angle2 -=200;
		pointer = cosin_table[angle2][led];
		OnOff = picture[pointer/8]&(mask >>((pointer%8)));
		HAL_GPIO_WritePin(Led_b_port[16-led], Led_b[16-led], OnOff);
	}
	if(angle<200)angle++;

}

void led_a_write(uint32_t tmp){
	uint8_t index = 0;
	uint32_t mask = 1;
	for(index = 0; index<17; index++)
  {
		HAL_GPIO_WritePin(Led_a_port[index], Led_a[index], (tmp&mask)>>index);
		mask = mask <<1;
  }
}
void led_b_write(uint32_t tmp){
	uint8_t index = 0;
	uint32_t mask = 1;
	for(index = 0; index<17; index++)
  {
		HAL_GPIO_WritePin(Led_b_port[index], Led_b[index], (tmp&mask)>>index);
		mask = mask <<1;
  }
}
/* USER CODE END 4 */

/************************ (C) COPYRIGHT STMicroelectronics *****END OF FILE****/
